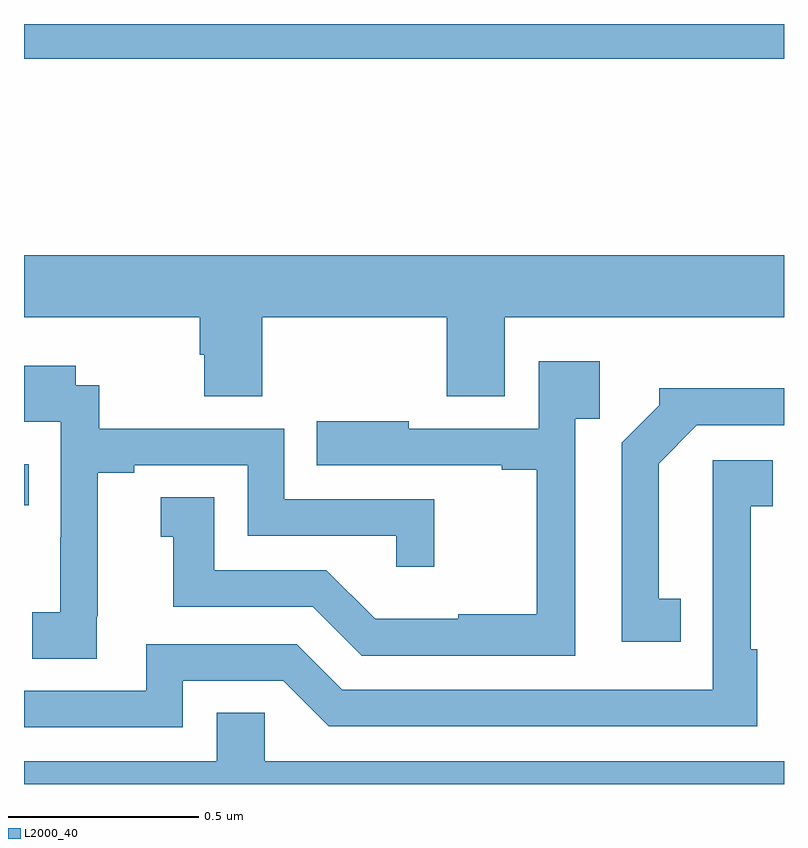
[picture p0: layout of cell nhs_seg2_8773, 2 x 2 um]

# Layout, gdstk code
import gdstk
lib = gdstk.Library(unit=1e-6, precision=1e-09)
def R(c, l, rs):  # rectangles x0, y0, x1, y1
    for r in rs: c.add(gdstk.rectangle(r[:2], r[2:], *l))
def P(c, l, *ps):  # polygons
    for p in ps: c.add(gdstk.Polygon(p, *l))
L2000_40 = (2000, 40)

nhs_seg2_8773 = lib.new_cell('nhs_seg2_8773')
R(nhs_seg2_8773, L2000_40, [(221,588.534,221.012,588.642), (221,589.708,223,589.8)])
P(nhs_seg2_8773, L2000_40, [(221.627,589.028),(222.113,589.028),(222.113,588.82),(222.265,588.82),(222.265,589.028),(223,589.028),(223,589.192),(221,589.192),(221,589.028),(221.462,589.028),(221.462,588.93),(221.474,588.93),(221.474,588.82),(221.627,588.82)],
  [(222.45,588.761),(222.515,588.761),(222.515,588.913),(222.354,588.913),(222.354,588.735),(222.013,588.735),(222.013,588.754),(221.77,588.754),(221.77,588.639),(222.257,588.639),(222.257,588.627),(222.349,588.627),(222.349,588.247),(222.143,588.247),(222.143,588.235),(221.924,588.235),(221.796,588.363),(221.5,588.363),(221.5,588.554),(221.36,588.554),(221.36,588.451),(221.393,588.451),(221.393,588.267),(221.76,588.267),(221.889,588.138),(222.45,588.138)],
  [(221.192,588.241),(221.194,588.241),(221.194,588.619),(221.29,588.619),(221.29,588.639),(221.589,588.639),(221.589,588.453),(221.979,588.453),(221.979,588.372),(222.08,588.372),(222.08,588.549),(221.685,588.549),(221.685,588.735),(221.198,588.735),(221.198,588.849),(221.136,588.849),(221.136,588.901),(221,588.901),(221,588.753),(221.097,588.753),(221.097,588.449),(221.096,588.449),(221.096,588.252),(221.022,588.252),(221.022,588.13),(221.192,588.13)],
  [(222.728,588.287),(222.67,588.287),(222.67,588.643),(222.771,588.744),(223,588.744),(223,588.842),(222.672,588.842),(222.672,588.797),(222.573,588.698),(222.573,588.174),(222.728,588.174)],
  [(221.418,588.072),(221.682,588.072),(221.802,587.952),(222.929,587.952),(222.929,588.155),(222.912,588.155),(222.912,588.531),(222.97,588.531),(222.97,588.652),(222.812,588.652),(222.812,588.376),(222.813,588.376),(222.813,588.048),(221.838,588.048),(221.718,588.168),(221.322,588.168),(221.322,588.045),(221,588.045),(221,587.949),(221.418,587.949)],
  [(221.634,587.987),(221.507,587.987),(221.507,587.86),(221,587.86),(221,587.8),(223,587.8),(223,587.86),(221.634,587.86)])

lib.write_gds('nhs_seg2_8773.gds')
